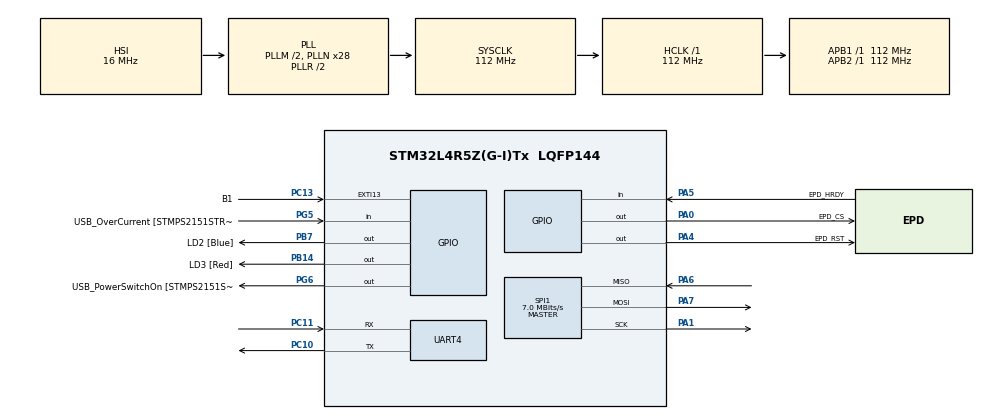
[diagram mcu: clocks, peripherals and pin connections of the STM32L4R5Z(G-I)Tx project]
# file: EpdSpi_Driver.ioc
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Dma.Request0=UART4_RX
Dma.Request1=UART4_TX
Dma.UART4_RX.0.Direction=DMA_PERIPH_TO_MEMORY
Dma.UART4_RX.0.EventEnable=DISABLE
Dma.UART4_RX.0.Instance=DMA1_Channel1
Dma.UART4_RX.0.MemDataAlignment=DMA_MDATAALIGN_BYTE
Dma.UART4_RX.0.MemInc=DMA_MINC_ENABLE
Dma.UART4_RX.0.Mode=DMA_NORMAL
Dma.UART4_RX.0.PeriphDataAlignment=DMA_PDATAALIGN_BYTE
Dma.UART4_RX.0.PeriphInc=DMA_PINC_DISABLE
Dma.UART4_RX.0.Polarity=HAL_DMAMUX_REQUEST_GEN_RISING
Dma.UART4_RX.0.Priority=DMA_PRIORITY_LOW
Dma.UART4_RX.0.RequestNumber=1
Dma.UART4_RX.0.SignalID=NONE
Dma.UART4_RX.0.SyncEnable=DISABLE
Dma.UART4_RX.0.SyncPolarity=HAL_DMAMUX_SYNC_NO_EVENT
Dma.UART4_RX.0.SyncRequestNumber=1
Dma.UART4_RX.0.SyncSignalID=NONE
Dma.UART4_TX.1.Direction=DMA_MEMORY_TO_PERIPH
Dma.UART4_TX.1.EventEnable=DISABLE
Dma.UART4_TX.1.Instance=DMA1_Channel2
Dma.UART4_TX.1.MemDataAlignment=DMA_MDATAALIGN_BYTE
Dma.UART4_TX.1.MemInc=DMA_MINC_ENABLE
Dma.UART4_TX.1.Mode=DMA_NORMAL
Dma.UART4_TX.1.PeriphDataAlignment=DMA_PDATAALIGN_BYTE
Dma.UART4_TX.1.PeriphInc=DMA_PINC_DISABLE
Dma.UART4_TX.1.Polarity=HAL_DMAMUX_REQUEST_GEN_RISING
Dma.UART4_TX.1.Priority=DMA_PRIORITY_LOW
Dma.UART4_TX.1.RequestNumber=1
Dma.UART4_TX.1.SignalID=NONE
Dma.UART4_TX.1.SyncEnable=DISABLE
Dma.UART4_TX.1.SyncPolarity=HAL_DMAMUX_SYNC_NO_EVENT
Dma.UART4_TX.1.SyncRequestNumber=1
Dma.UART4_TX.1.SyncSignalID=NONE
Mcu.Family=STM32L4
Mcu.Name=STM32L4R5Z(G-I)Tx
Mcu.Package=LQFP144
NVIC.DMA1_Channel1_IRQn=true\:0\:0\:false\:false\:true\:false\:true
NVIC.DMA1_Channel2_IRQn=true\:0\:0\:false\:false\:true\:false\:true
NVIC.PriorityGroup=NVIC_PRIORITYGROUP_4
PA0.GPIO_Label=EPD_CS
PA0.GPIO_Speed=GPIO_SPEED_FREQ_VERY_HIGH
PA0.Signal=GPIO_Output
PA1.Mode=Full_Duplex_Master
PA1.Signal=SPI1_SCK
PA10.GPIO_Label=USB_ID
PA10.Signal=USB_OTG_FS_ID
PA11.GPIO_Label=USB_DM
PA11.Signal=USB_OTG_FS_DM
PA12.GPIO_Label=USB_DP
PA12.Signal=USB_OTG_FS_DP
PA13\ (JTMS/SWDIO).GPIO_Label=TMS
PA13\ (JTMS/SWDIO).Mode=Trace_Asynchronous_SW
PA13\ (JTMS/SWDIO).Signal=SYS_JTMS-SWDIO
PA14\ (JTCK/SWCLK).GPIO_Label=TCK
PA14\ (JTCK/SWCLK).Mode=Trace_Asynchronous_SW
PA14\ (JTCK/SWCLK).Signal=SYS_JTCK-SWCLK
PA4.GPIO_Label=EPD_RST
PA4.GPIO_Speed=GPIO_SPEED_FREQ_VERY_HIGH
PA4.Signal=GPIO_Output
PA5.GPIO_Label=EPD_HRDY
PA5.Signal=GPIO_Input
PA6.Mode=Full_Duplex_Master
PA6.Signal=SPI1_MISO
PA7.Mode=Full_Duplex_Master
PA7.Signal=SPI1_MOSI
PA8.GPIO_Label=USB_SOF [TP1]
PA8.Signal=USB_OTG_FS_SOF
PA9.GPIO_Label=USB_VBUS
PA9.Signal=USB_OTG_FS_VBUS
PB14.GPIO_Label=LD3 [Red]
PB14.Signal=GPIO_Output
PB3\ (JTDO/TRACESWO).GPIO_Label=SWO
PB3\ (JTDO/TRACESWO).Mode=Trace_Asynchronous_SW
PB3\ (JTDO/TRACESWO).Signal=SYS_JTDO-SWO
PB7.GPIO_Label=LD2 [Blue]
PB7.Signal=GPIO_Output
PC10.GPIO_PuPd=GPIO_PULLUP
PC10.Mode=Asynchronous
PC10.Signal=UART4_TX
PC11.GPIO_PuPd=GPIO_PULLUP
PC11.Mode=Asynchronous
PC11.Signal=UART4_RX
PC13.GPIO_Label=B1
PC13.Signal=GPXTI13
PC14-OSC32_IN\ (PC14).Mode=LSE-External-Oscillator
PC14-OSC32_IN\ (PC14).Signal=RCC_OSC32_IN
PC15-OSC32_OUT\ (PC15).Mode=LSE-External-Oscillator
PC15-OSC32_OUT\ (PC15).Signal=RCC_OSC32_OUT
PD8.GPIO_Label=STLK_RX [STM32F103CBT6_PA3]
PD8.Signal=USART3_TX
PD9.GPIO_Label=STLK_TX [STM32F103CBT6_PA2]
PD9.Signal=USART3_RX
PG5.GPIO_Label=USB_OverCurrent [STMPS2151STR_FAULT]
PG5.Signal=GPIO_Input
PG6.GPIO_Label=USB_PowerSwitchOn [STMPS2151STR_En]
PG6.Signal=GPIO_Output
PG7.GPIO_Label=STLINK_TX
PG7.Signal=LPUART1_TX
PG8.GPIO_Label=STLINK_RX
PG8.Signal=LPUART1_RX
PH0-OSC_IN\ (PH0).Mode=HSE-External-Clock-Source
PH0-OSC_IN\ (PH0).Signal=RCC_OSC_IN
PH1-OSC_OUT\ (PH1).Signal=RCC_OSC_OUT
ProjectManager.HeapSize=0x200
ProjectManager.StackSize=0x400
ProjectManager.TargetToolchain=STM32CubeIDE
RCC.48MHZClocksFreq_Value=24000000
RCC.ADCFreq_Value=64000000
RCC.AHBFreq_Value=112000000
RCC.APB1Freq_Value=112000000
RCC.APB1TimFreq_Value=112000000
RCC.APB2Freq_Value=112000000
RCC.APB2TimFreq_Value=112000000
RCC.CortexFreq_Value=112000000
RCC.HCLKFreq_Value=112000000
RCC.HSE_VALUE=8000000
RCC.HSI48_VALUE=48000000
RCC.HSI_VALUE=16000000
RCC.MSIClockRange=RCC_MSIRANGE_10
RCC.MSI_VALUE=32000000
RCC.PLLM1=2
RCC.PLLMUL=RCC_PLL_MUL9
RCC.PLLN=28
RCC.PLLSourceVirtual=RCC_PLLSOURCE_HSI
RCC.PRESCALERUSB=RCC_USBCLKSOURCE_PLL_DIV1_5
RCC.SYSCLKFreq_VALUE=112000000
RCC.SYSCLKSource=RCC_SYSCLKSOURCE_PLLCLK
RCC.SYSCLKSourceVirtual=RCC_SYSCLKSOURCE_PLLCLK
RCC.USBFreq_Value=64000000
RCC.VCOOutputFreq_Value=224000000
SPI1.BaudRatePrescaler=SPI_BAUDRATEPRESCALER_16
SPI1.CalculateBaudRate=7.0 MBits/s
SPI1.DataSize=SPI_DATASIZE_16BIT
SPI1.Direction=SPI_DIRECTION_2LINES
SPI1.Mode=SPI_MODE_MASTER
SPI1.VirtualType=VM_MASTER
board=NUCLEO-L4R5ZI

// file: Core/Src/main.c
/* USER CODE BEGIN Header */
/**
  ******************************************************************************
  * @file           : main.c
  * @brief          : Main program body
  ******************************************************************************
  * @attention
  *
  * <h2><center>&copy; Copyright (c) 2019 STMicroelectronics.
  * All rights reserved.</center></h2>
  *
  * This software component is licensed by ST under BSD 3-Clause license,
  * the "License"; You may not use this file except in compliance with the
  * License. You may obtain a copy of the License at:
  *                        opensource.org/licenses/BSD-3-Clause
  *
  ******************************************************************************
  */
/* USER CODE END Header */

#include "main.h"
#include "dma.h"
#include "spi.h"
#include "usart.h"
#include "gpio.h"

/* USER CODE BEGIN Includes */
#include "EpdDriver.h"
#include "GUI_Paint.h"
#include "ULPWUR.h"
#include <string.h>
/* USER CODE END Includes */

void SystemClock_Config(void);

int main(void)
{

  /* MCU Configuration--------------------------------------------------------*/

  /* Reset of all peripherals, Initializes the Flash interface and the Systick. */
  HAL_Init();

  /* USER CODE BEGIN Init */

 // char tex[]={'H','A','L','L','O','\0'};
  char  fach[11];
  char  doz[4];
  char* tempLoad = "Template Loaded";
  //char end[1] = {'\N'};
  uint8_t rxBuf[50]={0};
  /* USER CODE END Init */

  /* Configure the system clock */
  SystemClock_Config();

  /* Initialize all configured peripherals */
  MX_GPIO_Init();
  MX_SPI1_Init();
  MX_DMA_Init();
  MX_UART4_Init();
  HAL_UART_MspInit(&huart4);
  /* USER CODE BEGIN 2 */
  IT8951_Init();

  /* USER CODE BEGIN 2 */
  //IT8951DisplayExample3();
//  EpdDriverLoadTemplate();
//
// DrawCalenderField(1, fach, doz);
// DrawCalenderField(2, fach, doz);
// DrawCalenderField(3, fach, doz);
// DrawCalenderField(7, fach, doz);

  //Paint_DrawChar(50, 50, 'B',&Font20, KALDARK, 0x00);
//  Paint_Clear(KALDARK);
  //Paint_DrawChar(10, 10, 'A',&Font12, KALDARK, 0x00);
  //Paint_DrawChar(50, 50, 'B',&Font20, KALDARK, 0x00);

// HAL_UART_Transmit(&huart4, trans, 6, HAL_MAX_DELAY);
  //EpdDriverDrawBox(uint8_t* buffer, uint16_t usX, uint16_t usY, uint16_t usWidth, uint16_t usHeight)
 while(1)
 {
	 //IT8951DisplayExample3();
	 //IT8951DisplayExample4();

	 HAL_UART_Receive(&huart4, rxBuf, 20,HAL_MAX_DELAY);
	 if(rxBuf[0]==0)
	 {
		 EpdDriverLoadTemplate();
		 for(int i=0; i<50;i++)
		 {rxBuf[i]=0;}
		 //HAL_UART_Transmit(&huart4, (uint8_t*)tempLoad, 16, HAL_MAX_DELAY);
		// HAL_UART_Transmit(&huart4, end, 1, HAL_MAX_DELAY);
	 }
	 if((0<rxBuf[0]) & (rxBuf[0] <=35))
	 {
		 for(int i=15; i<18;i++)
			 {doz[i-15]=rxBuf[i];}
		 for(int i=1; i<11;i++)
		 	 {fach[i-1]=rxBuf[i];}
		 doz[3]='\0';
		 DrawCalenderField(rxBuf[0], fach, doz);
		 EpdDriverShowDisp();
		 for(int i=0; i<50;i++)
		 	 {rxBuf[i]=0;}

		 //HAL_UART_Transmit(&huart4, (uint8_t*)tempLoad, 16, HAL_MAX_DELAY);
		 //HAL_UART_Transmit(&huart4, trans, 6, HAL_MAX_DELAY);
		 //HAL_UART_Receive(&huart4, rxBuf, 2,HAL_MAX_DELAY);

	 }
	 if(37 == rxBuf[0])
	 	 {
		 EpdDriverShowDisp();
	 	 }
		  //HAL_UART_Receive(&huart4, datain, 2, HAL_MAX_DELAY);

  /* USER CODE END 2 */

  /* Infinite loop */

  }
}

void SystemClock_Config(void)
{
  RCC_OscInitTypeDef RCC_OscInitStruct = {0};
  RCC_ClkInitTypeDef RCC_ClkInitStruct = {0};
  RCC_PeriphCLKInitTypeDef PeriphClkInit = {0};

  /** Configure the main internal regulator output voltage
  */
  if (HAL_PWREx_ControlVoltageScaling(PWR_REGULATOR_VOLTAGE_SCALE1_BOOST) != HAL_OK)
  {
    Error_Handler();
  }
  /** Initializes the CPU, AHB and APB busses clocks
  */
  RCC_OscInitStruct.OscillatorType = RCC_OSCILLATORTYPE_HSI;
  RCC_OscInitStruct.HSIState = RCC_HSI_ON;
  RCC_OscInitStruct.HSICalibrationValue = RCC_HSICALIBRATION_DEFAULT;
  RCC_OscInitStruct.PLL.PLLState = RCC_PLL_ON;
  RCC_OscInitStruct.PLL.PLLSource = RCC_PLLSOURCE_HSI;
  RCC_OscInitStruct.PLL.PLLM = 2;
  RCC_OscInitStruct.PLL.PLLN = 28;
  RCC_OscInitStruct.PLL.PLLP = RCC_PLLP_DIV2;
  RCC_OscInitStruct.PLL.PLLQ = RCC_PLLQ_DIV2;
  RCC_OscInitStruct.PLL.PLLR = RCC_PLLR_DIV2;
  if (HAL_RCC_OscConfig(&RCC_OscInitStruct) != HAL_OK)
  {
    Error_Handler();
  }
  /** Initializes the CPU, AHB and APB busses clocks
  */
  RCC_ClkInitStruct.ClockType = RCC_CLOCKTYPE_HCLK|RCC_CLOCKTYPE_SYSCLK
                              |RCC_CLOCKTYPE_PCLK1|RCC_CLOCKTYPE_PCLK2;
  RCC_ClkInitStruct.SYSCLKSource = RCC_SYSCLKSOURCE_PLLCLK;
  RCC_ClkInitStruct.AHBCLKDivider = RCC_SYSCLK_DIV1;
  RCC_ClkInitStruct.APB1CLKDivider = RCC_HCLK_DIV1;
  RCC_ClkInitStruct.APB2CLKDivider = RCC_HCLK_DIV1;

  if (HAL_RCC_ClockConfig(&RCC_ClkInitStruct, FLASH_LATENCY_5) != HAL_OK)
  {
    Error_Handler();
  }
  PeriphClkInit.PeriphClockSelection = RCC_PERIPHCLK_UART4;
  PeriphClkInit.Uart4ClockSelection = RCC_UART4CLKSOURCE_PCLK1;
  if (HAL_RCCEx_PeriphCLKConfig(&PeriphClkInit) != HAL_OK)
  {
    Error_Handler();
  }
}

void Error_Handler(void)
{
}

/************************ (C) COPYRIGHT STMicroelectronics *****END OF FILE****/
